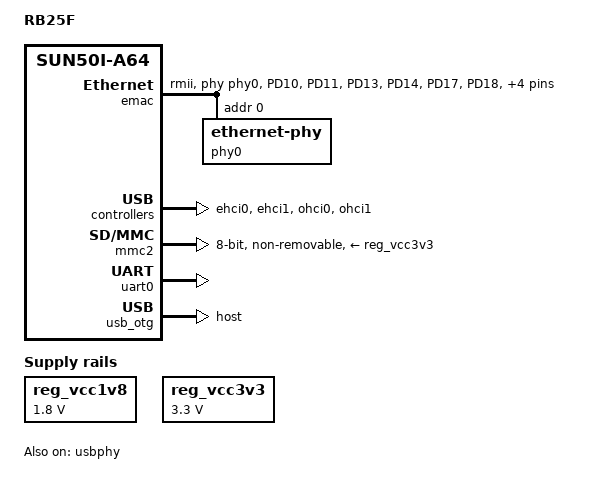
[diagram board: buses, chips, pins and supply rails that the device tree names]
/*
 * Copyright (c) 2017 Icenowy Zheng <icenowy@aosc.xyz>
 *
 * Based on sun50i-a64-pine64.dts, which is:
 *   Copyright (c) 2016 ARM Ltd.
 *
 * This file is dual-licensed: you can use it either under the terms
 * of the GPL or the X11 license, at your option. Note that this dual
 * licensing only applies to this file, and not this project as a
 * whole.
 *
 *  a) This library is free software; you can redistribute it and/or
 *     modify it under the terms of the GNU General Public License as
 *     published by the Free Software Foundation; either version 2 of the
 *     License, or (at your option) any later version.
 *
 *     This library is distributed in the hope that it will be useful,
 *     but WITHOUT ANY WARRANTY; without even the implied warranty of
 *     MERCHANTABILITY or FITNESS FOR A PARTICULAR PURPOSE.  See the
 *     GNU General Public License for more details.
 *
 * Or, alternatively,
 *
 *  b) Permission is hereby granted, free of charge, to any person
 *     obtaining a copy of this software and associated documentation
 *     files (the "Software"), to deal in the Software without
 *     restriction, including without limitation the rights to use,
 *     copy, modify, merge, publish, distribute, sublicense, and/or
 *     sell copies of the Software, and to permit persons to whom the
 *     Software is furnished to do so, subject to the following
 *     conditions:
 *
 *     The above copyright notice and this permission notice shall be
 *     included in all copies or substantial portions of the Software.
 *
 *     THE SOFTWARE IS PROVIDED "AS IS", WITHOUT WARRANTY OF ANY KIND,
 *     EXPRESS OR IMPLIED, INCLUDING BUT NOT LIMITED TO THE WARRANTIES
 *     OF MERCHANTABILITY, FITNESS FOR A PARTICULAR PURPOSE AND
 *     NONINFRINGEMENT. IN NO EVENT SHALL THE AUTHORS OR COPYRIGHT
 *     HOLDERS BE LIABLE FOR ANY CLAIM, DAMAGES OR OTHER LIABILITY,
 *     WHETHER IN AN ACTION OF CONTRACT, TORT OR OTHERWISE, ARISING
 *     FROM, OUT OF OR IN CONNECTION WITH THE SOFTWARE OR THE USE OR
 *     OTHER DEALINGS IN THE SOFTWARE.
 */

/dts-v1/;

#include "sun50i-a64.dtsi"
#include <dt-bindings/gpio/gpio.h>

/ {
	model = "RB25F";
	compatible = "pine64,pine64", "allwinner,sun50i-a64";

	aliases {
		serial0 = &uart0;
		ethernet0 = &emac;
	};

	chosen {
		stdout-path = "serial0:115200n8";
	};

	reg_vcc1v8: vcc1v8 {
		compatible = "regulator-fixed";
		regulator-name = "vcc1v8";
		regulator-min-microvolt = <1800000>;
		regulator-max-microvolt = <1800000>;
	};
	reg_vcc3v3: vcc3v3 {
		compatible = "regulator-fixed";
		regulator-name = "vcc3v3";
		regulator-min-microvolt = <3300000>;
		regulator-max-microvolt = <3300000>;
	};

	soc {
    emac: ethernet@01c30000 {
			compatible = "allwinner,sun50i-a64-emac";
      reg = <0x01c30000 0x2000>, <0x01c00030 0x4>;
      reg-names = "emac", "syscon";
      interrupts = <GIC_SPI 82 IRQ_TYPE_LEVEL_HIGH>;
      resets = <&ccu RST_BUS_EMAC>;
      reset-names = "ahb";
      clocks = <&ccu CLK_BUS_EMAC>;
      clock-names = "ahb";
      #address-cells = <0>;
      #size-cells = <0>;
      pinctrl-names = "default";
      pinctrl-0 = <&rmii_pins>;
      phy-mode = "rmii";
      phy = <&phy0>;

      snps,reset-gpios = <&phy_reset_pins>;
      snps,reset-active-low = <1>;
      snps,reset-delay-us = <200>;

      status = "okay";
      
      phy0: ethernet-phy@0 {
        reg = <0>;
      };
    };
  };
};      

&ehci0 {
	status = "okay";
};

&ehci1 {
	status = "okay";
};

&mmc2 {
	pinctrl-names = "default";
	pinctrl-0 = <&mmc2_pins>;
	vmmc-supply = <&reg_vcc3v3>;
	vqmmc-supply = <&reg_vcc1v8>;
	bus-width = <8>;
	non-removable;
	cap-mmc-hw-reset;
	status = "okay";
};

&ohci0 {
	status = "okay";
};

&ohci1 {
	status = "okay";
};

&uart0 {
	pinctrl-names = "default";
	pinctrl-0 = <&uart0_pins_a>;
	status = "okay";
};

&usb_otg {
	dr_mode = "host";
	status = "okay";
};

&usbphy {
  status = "okay";
};

&pio {
	rmii_pins: rmii_pins {
		allwinner,pins = "PD10", "PD11", "PD13", "PD14",
				 "PD17", "PD18", "PD19", "PD20",
				 "PD22", "PD23";
		allwinner,function = "emac";
		allwinner,drive = <3>;
		allwinner,pull = <0>;
	};
};

